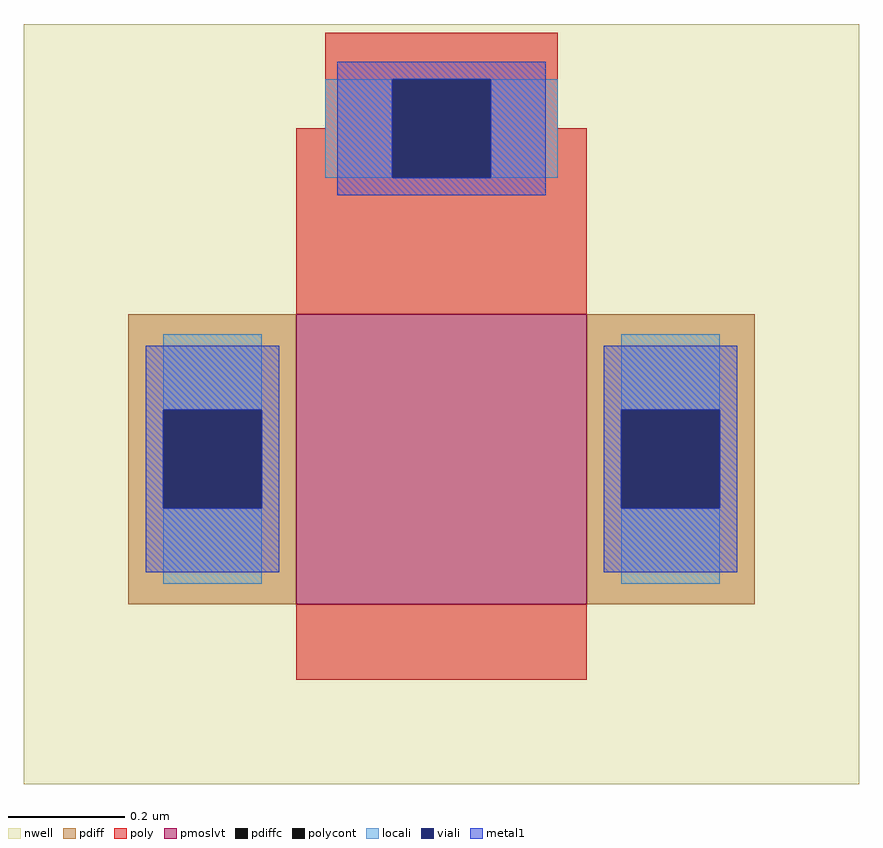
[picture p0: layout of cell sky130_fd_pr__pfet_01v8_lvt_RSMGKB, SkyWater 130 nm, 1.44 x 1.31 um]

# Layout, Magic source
magic
tech sky130A
magscale 1 2
<< nwell >>
rect -144 -148 144 114
<< pmoslvt >>
rect -50 -86 50 14
<< pdiff >>
rect -108 -19 -50 14
rect -108 -53 -96 -19
rect -62 -53 -50 -19
rect -108 -86 -50 -53
rect 50 -19 108 14
rect 50 -53 62 -19
rect 96 -53 108 -19
rect 50 -86 108 -53
<< pdiffc >>
rect -96 -53 -62 -19
rect 62 -53 96 -19
<< poly >>
rect -40 95 40 111
rect -40 78 -17 95
rect -50 61 -17 78
rect 17 78 40 95
rect 17 61 50 78
rect -50 14 50 61
rect -50 -112 50 -86
<< polycont >>
rect -17 61 17 95
<< locali >>
rect -40 61 -17 95
rect 17 61 40 95
rect -96 -19 -62 7
rect -96 -79 -62 -53
rect 62 -19 96 7
rect 62 -79 96 -53
<< viali >>
rect -17 61 17 95
rect -96 -53 -62 -19
rect 62 -53 96 -19
<< metal1 >>
rect -36 95 36 101
rect -36 61 -17 95
rect 17 61 36 95
rect -36 55 36 61
rect -102 -19 -56 3
rect -102 -53 -96 -19
rect -62 -53 -56 -19
rect -102 -75 -56 -53
rect 56 -19 102 3
rect 56 -53 62 -19
rect 96 -53 102 -19
rect 56 -75 102 -53
<< end >>
